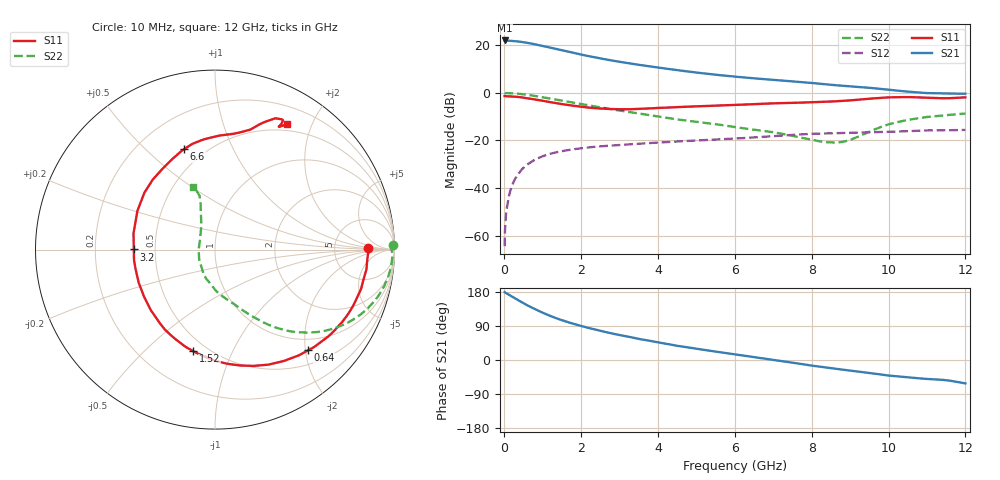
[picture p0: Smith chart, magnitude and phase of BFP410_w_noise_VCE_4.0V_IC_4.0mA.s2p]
! Infineon Technologies  Discrete & RF Semiconductors
! BFP410
! VCE =  4.0 V,  IC =  4.0 mA
! Common Emitter S-Parameters:  Nov 2015
# GHz  S  MA  R  50
!  f  S11  S21  S12  S22
! GHz  MAG  ANG  MAG  ANG  MAG  ANG  MAG  ANG
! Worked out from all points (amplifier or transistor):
!   243 points, 10 MHz to 12 GHz, reference 50 ohm
!   highest |S21| = 22.0 dB at 10 MHz (marker M1)
!   |S21| within 3 dB of that: start of sweep to 1.192 GHz
!   unconditionally stable (mu >= 1): start of sweep to 13.74 MHz; 3.342 GHz to end of sweep
!   at 240 MHz: K = 0.12, MSG = 29.7 dB, |S12| = -37.6 dB
!   at 1.84 GHz: K = 0.55, MSG = 20.1 dB, |S12| = -23.6 dB
!   at 12 GHz: K = 1.08, MAG = 5.9 dB, |S12| = -15.6 dB
!   lowest NFmin = 0.94 dB at 900 MHz
!   S11 on the Smith chart (normalised r, x): 10 MHz: 13, +1; 640 MHz: 0.76, -2.05; 1.52 GHz: 0.42, -0.72; 3.2 GHz: 0.38, +0.00; 6.6 GHz: 0.39, +0.66; 12 GHz: 0.41, +1.65
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0.01  0.8551 0.7  12.65 179.1  0.0006 2.6  0.9932 1.6
0.025  0.8536 -1.2  12.53 178.0  0.0016 59.8  0.9836 -0.1
0.05  0.8505 -3.2  12.46 176.2  0.003 73.2  0.9896 -1.3
0.155  0.8437 -11.6  12.42 170.2  0.0086 80.3  0.9856 -5.5
0.4  0.8144 -30.0  11.94 155.7  0.0216 73.4  0.9533 -14.4
0.64  0.764 -47.3  11.14 142.3  0.0328 65.9  0.9022 -22.2
0.8  0.7295 -58.3  10.51 134.1  0.0395 61.3  0.8625 -26.9
1  0.6825 -71.7  9.716 124.7  0.0466 56.0  0.8087 -32.2
1.22  0.6345 -85.2  8.848 115.4  0.0531 50.9  0.7513 -37.3
1.52  0.5785 -102.2  7.766 104.5  0.0601 45.3  0.6793 -42.8
1.74  0.545 -114.0  7.083 97.3  0.0643 41.8  0.6329 -46.3
2.02  0.5097 -127.7  6.329 89.3  0.0689 38.2  0.5797 -50.0
2.6  0.4647 -155.6  5.131 74.5  0.0764 31.8  0.4807 -56.8
3.2  0.4524 179.9  4.245 62.1  0.0823 27.3  0.4023 -62.7
4.1  0.4857 150.9  3.324 44.8  0.0913 22.1  0.3113 -72.2
5  0.522 131.6  2.673 29.5  0.0999 17.4  0.2467 -84.9
6.1  0.5615 113.9  2.161 13.4  0.1106 12.4  0.1863 -99.4
6.6  0.5858 107.0  1.992 6.1  0.1171 10.0  0.1641 -108.8
8.2  0.6425 84.6  1.558 -17.5  0.1393 -1.8  0.096 -158.2
8.8  0.6794 76.1  1.412 -25.4  0.1432 -6.4  0.093 158.6
10.2  0.8104 64.0  1.123 -42.9  0.1536 -14.6  0.2392 109.4
12  0.8058 60.2  0.961 -61.7  0.1665 -29.1  0.3683 109.5
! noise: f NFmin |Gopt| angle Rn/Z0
0.45  0.98  0.32  5  0.21
0.9  0.94  0.3  19  0.2
1.8  1.11  0.22  51  0.18
2.4  1.13  0.21  57  0.19
5.5  2.09  0.32  -131  0.22
10  3.48  0.67  -53  1.85
